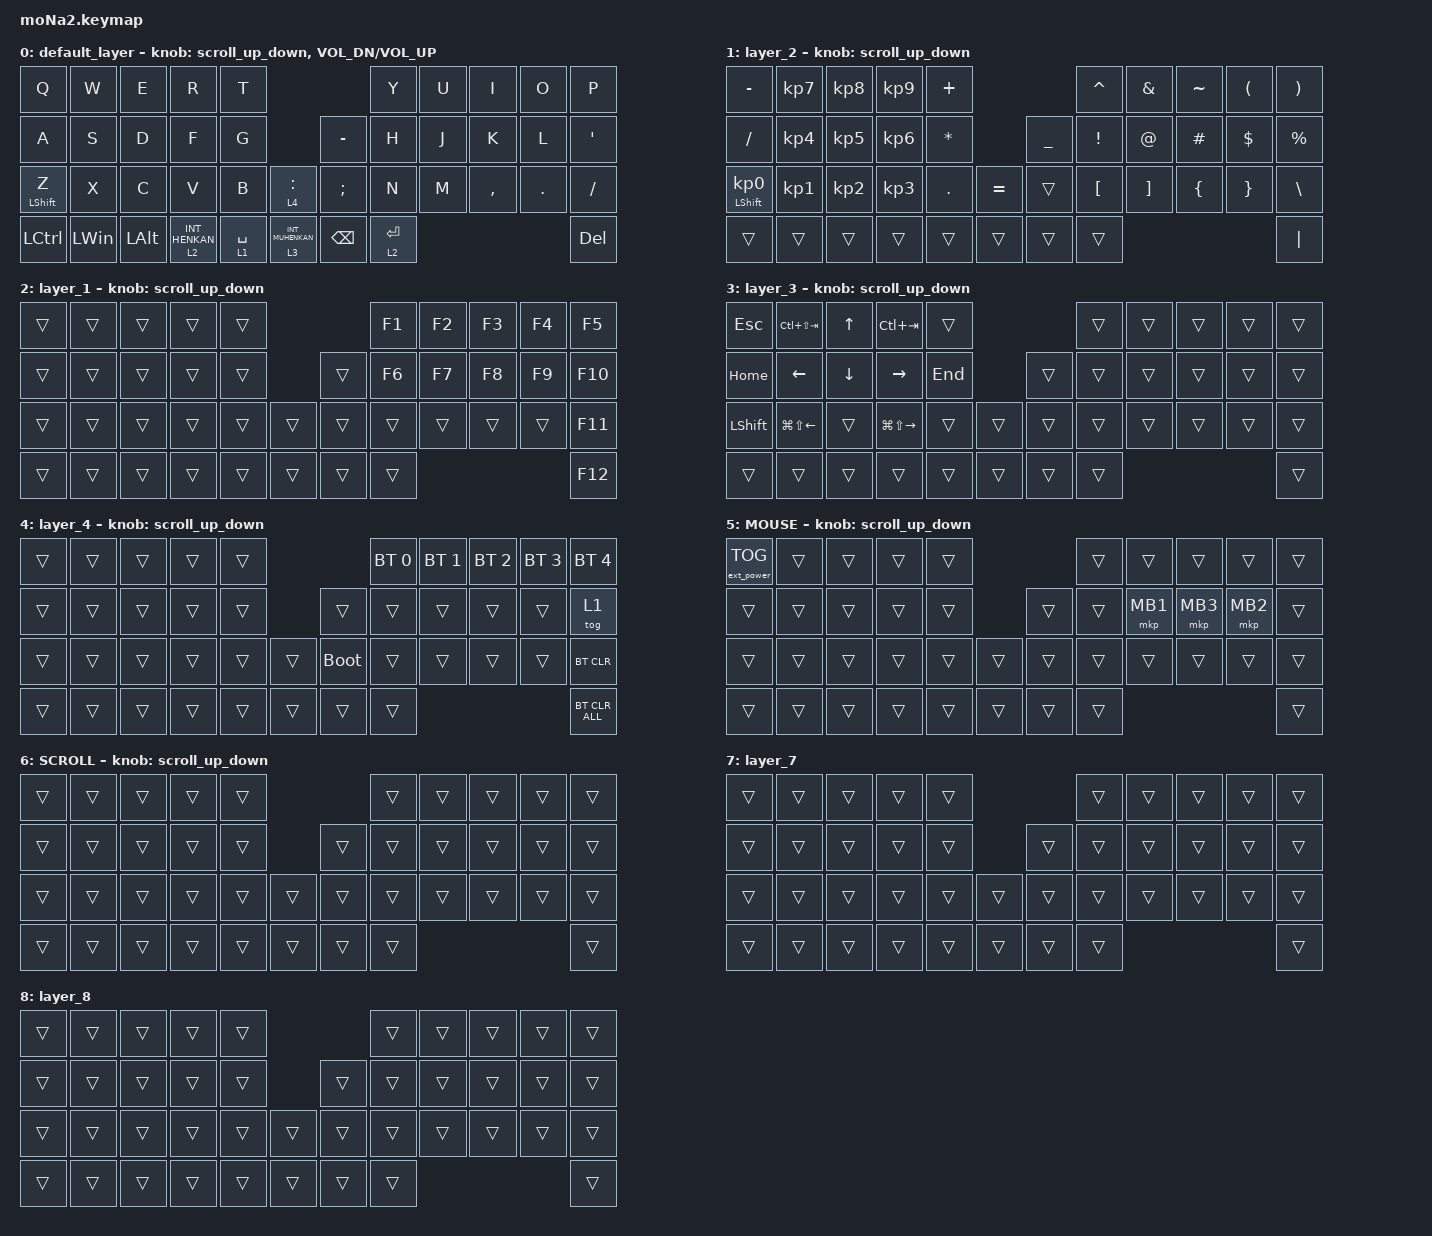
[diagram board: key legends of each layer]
#include <behaviors.dtsi>
#include <dt-bindings/zmk/bt.h>
#include <dt-bindings/zmk/ext_power.h>
#include <dt-bindings/zmk/keys.h>
#include <dt-bindings/zmk/pointing.h>

#define ZMK_POINTING_DEFAULT_SCRL_VAL 100
#define MOUSE 5
#define SCROLL 6

&mt {
    flavor = "balanced";
    quick-tap-ms = <0>;
};

/ {
    combos { compatible = "zmk,combos"; };

    macros {
        to_layer_0: to_layer_0 {
            compatible = "zmk,behavior-macro-one-param";
            #binding-cells = <1>;
            bindings = <&to 0 &macro_param_1to1 &kp MACRO_PLACEHOLDER>;
            label = "TO_LAYER_0";
        };
    };

    behaviors {
        lt_to_layer_0: lt_to_layer_0 {
            compatible = "zmk,behavior-hold-tap";
            label = "LAYER_TAP_TO_0";
            bindings = <&mo>, <&to_layer_0>;

            #binding-cells = <2>;
            tapping-term-ms = <200>;
        };

        scroll_up_down: behavior_sensor_rotate_mouse_wheel_up_down {
            compatible = "zmk,behavior-sensor-rotate";
            #sensor-binding-cells = <0>;
            bindings = <&msc SCRL_UP>, <&msc SCRL_DOWN>;

            tap-ms = <20>;
        };
    };

    keymap {
        compatible = "zmk,keymap";

        default_layer {
            bindings = <
&kp Q             &kp W         &kp E         &kp R             &kp T                                             &kp Y        &kp U  &kp I      &kp O    &kp P
&kp A             &kp S         &kp D         &kp F             &kp G                              &kp MINUS      &kp H        &kp J  &kp K      &kp L    &kp SQT
&mt LEFT_SHIFT Z  &kp X         &kp C         &kp V             &kp B        &lt 4 COLON           &kp SEMICOLON  &kp N        &kp M  &kp COMMA  &kp DOT  &kp SLASH
&kp LCTRL         &kp LEFT_WIN  &kp LEFT_ALT  &lt 2 INT_HENKAN  &lt 1 SPACE  &lt 3 INT_MUHENKAN    &kp BACKSPACE  &lt 2 ENTER                             &kp DEL
            >;

            sensor-bindings =
                <&scroll_up_down>,
                <&inc_dec_kp C_VOL_DN C_VOL_UP>;
        };

        layer_2 {
            bindings = <
&kp MINUS                   &kp KP_NUMBER_7  &kp KP_NUMBER_8  &kp KP_NUMBER_9  &kp PLUS                                   &kp CARET         &kp AMPERSAND      &kp TILDE       &kp LEFT_PARENTHESIS  &kp RIGHT_PARENTHESIS
&kp SLASH                   &kp KP_NUMBER_4  &kp KP_NUMBER_5  &kp KP_NUMBER_6  &kp ASTERISK               &kp UNDERSCORE  &kp EXCLAMATION   &kp AT_SIGN        &kp HASH        &kp DOLLAR            &kp PERCENT
&mt LEFT_SHIFT KP_NUMBER_0  &kp KP_NUMBER_1  &kp KP_NUMBER_2  &kp KP_NUMBER_3  &kp PERIOD    &kp EQUAL    &trans          &kp LEFT_BRACKET  &kp RIGHT_BRACKET  &kp LEFT_BRACE  &kp RIGHT_BRACE       &kp BACKSLASH
&trans                      &trans           &trans           &trans           &trans        &trans       &trans          &trans                                                                     &kp PIPE
            >;

            sensor-bindings = <&scroll_up_down>;
        };

        layer_1 {
            bindings = <
&trans  &trans  &trans  &trans  &trans                    &kp F1  &kp F2  &kp F3  &kp F4  &kp F5
&trans  &trans  &trans  &trans  &trans            &trans  &kp F6  &kp F7  &kp F8  &kp F9  &kp F10
&trans  &trans  &trans  &trans  &trans  &trans    &trans  &trans  &trans  &trans  &trans  &kp F11
&trans  &trans  &trans  &trans  &trans  &trans    &trans  &trans                          &kp F12
            >;

            sensor-bindings = <&scroll_up_down>;
        };

        layer_3 {
            bindings = <
&kp ESCAPE      &kp LC(LS(TAB))         &kp UP_ARROW    &kp LC(TAB)              &trans                     &trans  &trans  &trans  &trans  &trans
&kp HOME        &kp LEFT_ARROW          &kp DOWN_ARROW  &kp RIGHT_ARROW          &kp END            &trans  &trans  &trans  &trans  &trans  &trans
&kp LEFT_SHIFT  &kp LG(LS(LEFT_ARROW))  &trans          &kp LG(LS(RIGHT_ARROW))  &trans   &trans    &trans  &trans  &trans  &trans  &trans  &trans
&trans          &trans                  &trans          &trans                   &trans   &trans    &trans  &trans                          &trans
            >;

            sensor-bindings = <&scroll_up_down>;
        };

        layer_4 {
            bindings = <
&trans  &trans  &trans  &trans  &trans                         &bt BT_SEL 0  &bt BT_SEL 1  &bt BT_SEL 2  &bt BT_SEL 3  &bt BT_SEL 4
&trans  &trans  &trans  &trans  &trans            &trans       &trans        &trans        &trans        &trans        &tog 1
&trans  &trans  &trans  &trans  &trans  &trans    &bootloader  &trans        &trans        &trans        &trans        &bt BT_CLR
&trans  &trans  &trans  &trans  &trans  &trans    &trans       &trans                                                  &bt BT_CLR_ALL
            >;

            sensor-bindings = <&scroll_up_down>;
        };

        MOUSE {
            bindings = <
&ext_power EP_TOG  &trans  &trans  &trans  &trans                    &trans  &trans    &trans    &trans    &trans
&trans             &trans  &trans  &trans  &trans            &trans  &trans  &mkp MB1  &mkp MB3  &mkp MB2  &trans
&trans             &trans  &trans  &trans  &trans  &trans    &trans  &trans  &trans    &trans    &trans    &trans
&trans             &trans  &trans  &trans  &trans  &trans    &trans  &trans                                &trans
            >;

            sensor-bindings = <&scroll_up_down>;
        };

        SCROLL {
            bindings = <
&trans  &trans  &trans  &trans  &trans                    &trans  &trans  &trans  &trans  &trans
&trans  &trans  &trans  &trans  &trans            &trans  &trans  &trans  &trans  &trans  &trans
&trans  &trans  &trans  &trans  &trans  &trans    &trans  &trans  &trans  &trans  &trans  &trans
&trans  &trans  &trans  &trans  &trans  &trans    &trans  &trans                          &trans
            >;

            sensor-bindings = <&scroll_up_down>;
        };

        layer_7 {
            bindings = <
&trans  &trans  &trans  &trans  &trans                    &trans  &trans  &trans  &trans  &trans
&trans  &trans  &trans  &trans  &trans            &trans  &trans  &trans  &trans  &trans  &trans
&trans  &trans  &trans  &trans  &trans  &trans    &trans  &trans  &trans  &trans  &trans  &trans
&trans  &trans  &trans  &trans  &trans  &trans    &trans  &trans                          &trans
            >;
        };

        layer_8 {
            bindings = <
&trans  &trans  &trans  &trans  &trans                    &trans  &trans  &trans  &trans  &trans
&trans  &trans  &trans  &trans  &trans            &trans  &trans  &trans  &trans  &trans  &trans
&trans  &trans  &trans  &trans  &trans  &trans    &trans  &trans  &trans  &trans  &trans  &trans
&trans  &trans  &trans  &trans  &trans  &trans    &trans  &trans                          &trans
            >;
        };
    };
};
